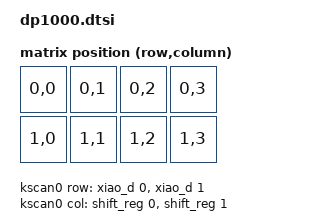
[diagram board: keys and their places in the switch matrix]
/*
 * Copyright (c) 2020 The ZMK Contributors
 *
 * SPDX-License-Identifier: MIT
 */

#include <dt-bindings/zmk/matrix_transform.h>

&xiao_spi {
    status = "okay";
    cs-gpios = <&xiao_d 7 GPIO_ACTIVE_LOW>;
    shift_reg: 595@0 {
        compatible = "zmk,gpio-595";
        status = "okay";
        gpio-controller;
        spi-max-frequency = <200000>;
        reg = <0>;
        label = "4HC595";
        #gpio-cells = <2>;
        ngpios = <8>;
    };
};

&xiao_serial { status = "disabled"; };

&spi2_default {
    group1 {
        psels = <NRF_PSEL(SPIM_SCK, 1, 13)>,
            <NRF_PSEL(SPIM_MOSI, 1, 15)>;
    };
};

&spi2_sleep {
    group1 {
        psels = <NRF_PSEL(SPIM_SCK, 1, 13)>,
            <NRF_PSEL(SPIM_MOSI, 1, 15)>;
    };
};

/ {
	chosen {
		zmk,kscan = &kscan0;
		zmk,matrix_transform = &default_transform;
	};

	default_transform: keymap_transform_0 {
		compatible = "zmk,matrix-transform";
		columns = <4>;
		rows = <2>;
// | SW1  | SW2  |   | SW2  | SW1  |
// | SW3  | SW4  |   | SW4  | SW3  |
		map = <
RC(0,0) RC(0,1)  RC(0,2) RC(0,3)
RC(1,0) RC(1,1)  RC(1,2) RC(1,3)
		>;
	};

	kscan0: kscan {
		compatible = "zmk,kscan-gpio-matrix";
		label = "KSCAN";

		diode-direction = "col2row";
        col-gpios
            = <&shift_reg 0 GPIO_ACTIVE_HIGH>
            , <&shift_reg 1 GPIO_ACTIVE_HIGH>
            ;
        row-gpios
            = <&xiao_d 0 (GPIO_ACTIVE_HIGH | GPIO_PULL_DOWN)>
            , <&xiao_d 1 (GPIO_ACTIVE_HIGH | GPIO_PULL_DOWN)>
            ;
	};
};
